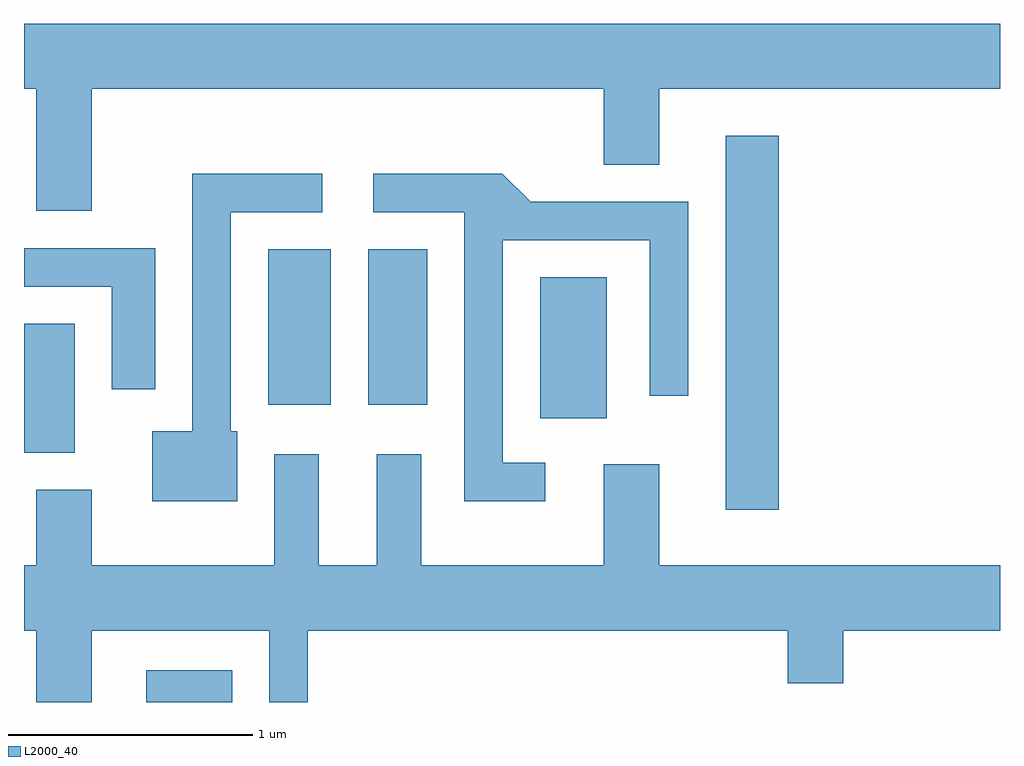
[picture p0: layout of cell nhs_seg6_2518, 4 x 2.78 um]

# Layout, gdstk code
import gdstk
lib = gdstk.Library(unit=1e-6, precision=1e-09)
def R(c, l, rs):  # rectangles x0, y0, x1, y1
    for r in rs: c.add(gdstk.rectangle(r[:2], r[2:], *l))
def P(c, l, *ps):  # polygons
    for p in ps: c.add(gdstk.Polygon(p, *l))
L2000_40 = (2000, 40)

nhs_seg6_2518 = lib.new_cell('nhs_seg6_2518')
R(nhs_seg6_2518, L2000_40, [(262.113,1574.162,262.464,1574.294), (264.486,1574.951,264.704,1576.484), (261.611,1575.186,261.819,1575.714), (263.726,1575.326,263.999,1575.904), (262.611,1575.381,262.869,1576.019), (263.021,1575.381,263.264,1576.019)])
P(nhs_seg6_2518, L2000_40, [(261.889,1576.676),(263.986,1576.676),(263.986,1576.366),(264.214,1576.366),(264.214,1576.676),(265.611,1576.676),(265.611,1576.944),(261.611,1576.944),(261.611,1576.676),(261.661,1576.676),(261.661,1576.176),(261.889,1576.176)],
  [(263.748,1575.144),(263.574,1575.144),(263.574,1576.056),(264.176,1576.056),(264.176,1575.418),(264.334,1575.418),(264.334,1576.214),(263.687,1576.214),(263.572,1576.329),(263.043,1576.329),(263.043,1576.171),(263.416,1576.171),(263.416,1574.986),(263.748,1574.986)],
  [(262.484,1575.274),(262.459,1575.274),(262.459,1576.171),(262.833,1576.171),(262.833,1576.329),(262.301,1576.329),(262.301,1575.274),(262.136,1575.274),(262.136,1574.986),(262.484,1574.986)],
  [(262.149,1576.024),(261.611,1576.024),(261.611,1575.866),(261.971,1575.866),(261.971,1575.446),(262.149,1575.446)],
  [(261.889,1574.456),(262.616,1574.456),(262.616,1574.162),(262.774,1574.162),(262.774,1574.456),(264.741,1574.456),(264.741,1574.241),(264.969,1574.241),(264.969,1574.456),(265.611,1574.456),(265.611,1574.724),(264.214,1574.724),(264.214,1575.139),(263.986,1575.139),(263.986,1574.724),(263.239,1574.724),(263.239,1575.179),(263.056,1575.179),(263.056,1574.724),(262.819,1574.724),(262.819,1575.179),(262.636,1575.179),(262.636,1574.724),(261.889,1574.724),(261.889,1575.034),(261.661,1575.034),(261.661,1574.724),(261.611,1574.724),(261.611,1574.456),(261.661,1574.456),(261.661,1574.162),(261.889,1574.162)])

lib.write_gds('nhs_seg6_2518.gds')
